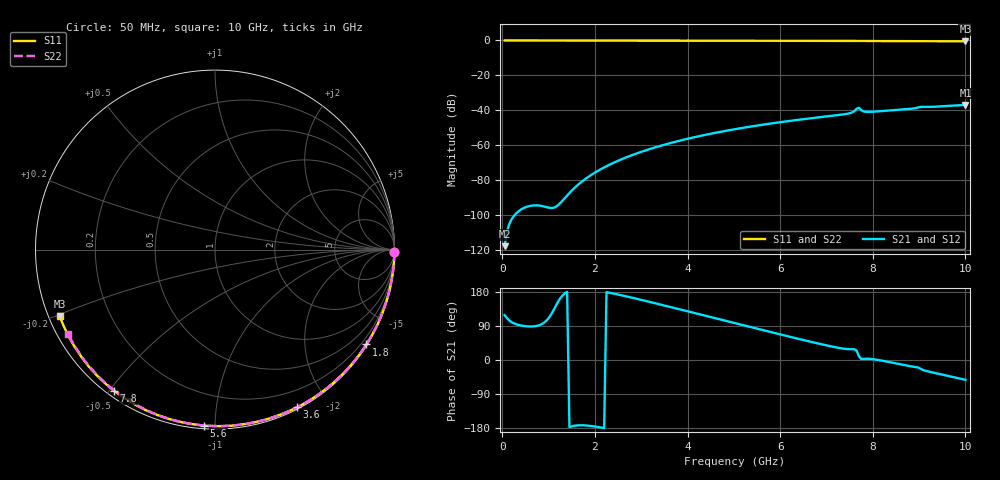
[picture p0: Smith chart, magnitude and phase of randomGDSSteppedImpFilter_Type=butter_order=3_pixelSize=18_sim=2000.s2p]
! freq	dB(S11)	phase(S11)	dB(S12)	phase(S12)
!  dB(S21)	phase(S21)	dB(S22)	phase(S22)
!S-par simulation data
#  GHz  S  DB  R 50
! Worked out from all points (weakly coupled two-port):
!   200 points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, 50 MHz to 10 GHz, reference 50 ohm
!   highest |S21| = -36.85 dB at 10 GHz (marker M1); lowest = -117.7 dB at 50 MHz (marker M2)
!   lowest |S11| = -0.5 dB at 10 GHz (marker M3), VSWR 32.90, Z = 1.58 - j10.2 ohm
!   |S11| at or under -10 dB: nowhere
!   |S22| runs from -0.5 to 0.0 dB; largest |S21 - S12| = 0
!   S11 on the Smith chart (normalised r, x): 50 MHz: open; 1.8 GHz: 0.03, -3.48; 3.6 GHz: 0.02, -1.65; 5.6 GHz: 0.02, -0.94; 7.8 GHz: 0.02, -0.51; 10 GHz: 0.03, -0.20
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0.05  -0.00 -0.9  -117.67 118.5  -117.67 118.5  -0.01 -0.9
0.85  -0.02 -15.3  -94.67 94.5  -94.67 94.5  -0.02 -14.7
1.75  -0.04 -31.2  -80.09 -172.4  -80.09 -172.4  -0.04 -29.9
1.8  -0.04 -32.1  -79.11 -172.7  -79.11 -172.7  -0.04 -30.8
2.1  -0.05 -37.3  -74.05 -177.5  -74.05 -177.5  -0.05 -35.8
2.5  -0.06 -44.1  -68.81 172.8  -68.81 172.8  -0.05 -42.3
2.9  -0.07 -50.9  -64.63 161.6  -64.63 161.6  -0.06 -48.8
3.4  -0.08 -59.2  -60.39 146.8  -60.39 146.8  -0.08 -56.8
3.6  -0.08 -62.5  -58.91 140.7  -58.91 140.7  -0.08 -60.0
4.3  -0.11 -73.7  -54.46 119.3  -54.46 119.3  -0.10 -70.8
5.05  -0.13 -85.4  -50.64 96.3  -50.64 96.3  -0.13 -82.0
5.6  -0.16 -93.7  -48.28 79.5  -48.28 79.5  -0.15 -90.0
6.7  -0.22 -109.8  -44.39 47.0  -44.39 47.0  -0.21 -105.6
7.5  -0.27 -121.3  -41.65 28.5  -41.65 28.5  -0.27 -116.8
7.6  -0.28 -122.7  -40.46 28.5  -40.46 28.5  -0.31 -118.4
7.7  -0.28 -124.1  -38.52 10.2  -38.52 10.2  -0.43 -119.0
7.8  -0.29 -125.5  -40.56 2.7  -40.56 2.7  -0.32 -120.1
7.95  -0.31 -127.7  -40.84 2.9  -40.84 2.9  -0.30 -122.4
8.35  -0.34 -133.3  -40.08 -5.4  -40.08 -5.4  -0.33 -127.9
8.85  -0.40 -140.4  -39.00 -17.3  -39.00 -17.3  -0.38 -134.6
9.05  -0.43 -143.2  -37.97 -24.4  -37.97 -24.4  -0.39 -137.3
10  -0.53 -156.9  -36.85 -52.3  -36.85 -52.3  -0.50 -150.2
